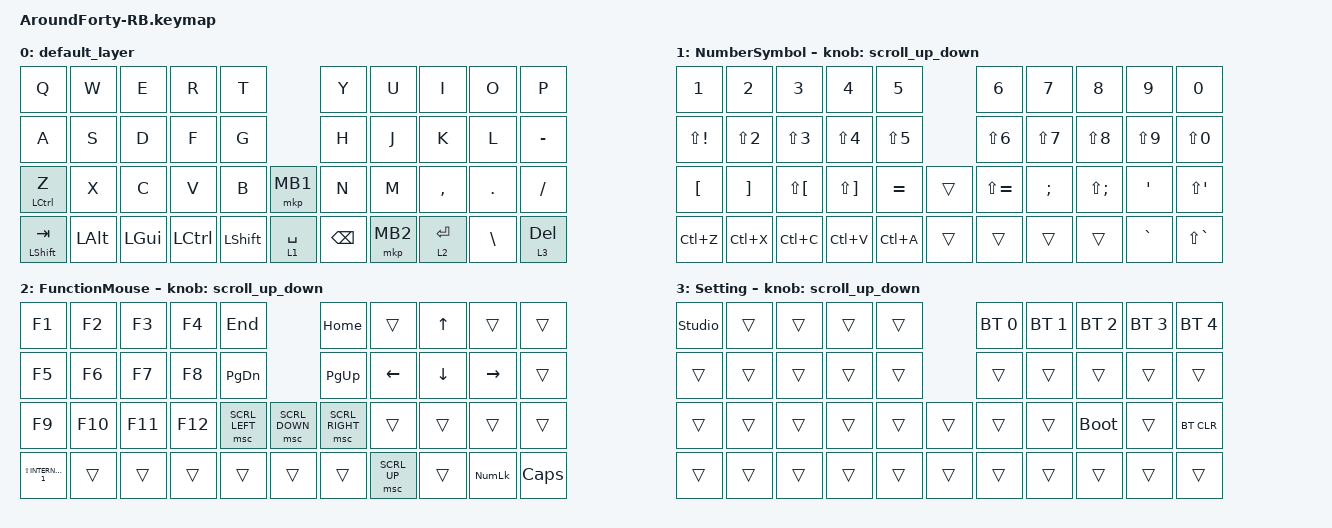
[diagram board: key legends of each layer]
#include <behaviors.dtsi>
#include <dt-bindings/zmk/bt.h>
#include <dt-bindings/zmk/keys.h>
#include <dt-bindings/zmk/pointing.h>

#define ZMK_POINTING_DEFAULT_SCRL_VAL 100
#define MOUSE 6

&mt {
    flavor = "balanced";
    quick-tap-ms = <0>;
};

/ {
    combos {
        compatible = "zmk,combos";

        lang1 {
            bindings = <&kp LANG1>;
            key-positions = <13 12>;
        };

        lang2 {
            bindings = <&kp LANG2>;
            key-positions = <16 17>;
        };

        comboESC {
            bindings = <&kp ESCAPE>;
            key-positions = <31 32>;
        };

        comboTAB {
            bindings = <&kp TAB>;
            key-positions = <0 1>;
        };

        comboNumLock {
            bindings = <&kp KP_NUMLOCK>;
            key-positions = <29 30>;
        };

        comboCAPS {
            bindings = <&kp CAPSLOCK>;
            key-positions = <41 40>;
        };

        lctrl {
            bindings = <&kp LEFT_CONTROL>;
            key-positions = <10 11>;
        };
    };

    macros {
        to_layer_0: to_layer_0 {
            compatible = "zmk,behavior-macro-one-param";
            #binding-cells = <1>;
            bindings = <&to 0 &macro_param_1to1 &kp MACRO_PLACEHOLDER>;
            label = "TO_LAYER_0";
        };
    };

    behaviors {
        lt_to_layer_0: lt_to_layer_0 {
            compatible = "zmk,behavior-hold-tap";
            label = "LAYER_TAP_TO_0";
            bindings = <&mo>, <&to_layer_0>;

            #binding-cells = <2>;
            tapping-term-ms = <200>;
        };

        scroll_up_down: behavior_sensor_rotate_mouse_wheel_up_down {
            compatible = "zmk,behavior-sensor-rotate";
            #sensor-binding-cells = <0>;
            bindings = <&msc SCRL_UP>, <&msc SCRL_DOWN>;

            tap-ms = <20>;
        };
    };

    keymap {
        compatible = "zmk,keymap";

        default_layer {
            bindings = <
&kp Q               &kp W         &kp E         &kp R             &kp T                        &kp Y          &kp U     &kp I        &kp O          &kp P
&kp A               &kp S         &kp D         &kp F             &kp G                        &kp H          &kp J     &kp K        &kp L          &kp MINUS
&mt LEFT_CONTROL Z  &kp X         &kp C         &kp V             &kp B           &mkp MB1     &kp N          &kp M     &kp COMMA    &kp PERIOD     &kp SLASH
&mt LEFT_SHIFT TAB  &kp LEFT_ALT  &kp LEFT_GUI  &kp LEFT_CONTROL  &kp LEFT_SHIFT  &lt 1 SPACE  &kp BACKSPACE  &mkp MB2  &lt 2 ENTER  &kp BACKSLASH  &lt 3 DELETE
            >;
        };

        NumberSymbol {
            bindings = <
&kp N1               &kp N2      &kp N3        &kp N4        &kp N5              &kp N6         &kp N7      &kp N8        &kp N9      &kp N0
&kp LS(EXCLAMATION)  &kp LS(N2)  &kp LS(N3)    &kp LS(N4)    &kp LS(N5)          &kp LS(N6)     &kp LS(N7)  &kp LS(N8)    &kp LS(N9)  &kp LS(N0)
&kp LBKT             &kp RBKT    &kp LS(LBKT)  &kp LS(RBKT)  &kp EQUAL   &trans  &kp LS(EQUAL)  &kp SEMI    &kp LS(SEMI)  &kp APOS    &kp LS(APOS)
&kp LC(Z)            &kp LC(X)   &kp LC(C)     &kp LC(V)     &kp LC(A)   &trans  &trans         &trans      &trans        &kp GRAVE   &kp LS(GRAVE)
            >;

            sensor-bindings = <&scroll_up_down>;
        };

        FunctionMouse {
            bindings = <
&kp F1                   &kp F2   &kp F3   &kp F4   &kp END                         &kp HOME         &trans        &kp UP    &trans          &trans
&kp F5                   &kp F6   &kp F7   &kp F8   &kp PG_DN                       &kp PG_UP        &kp LEFT      &kp DOWN  &kp RIGHT       &trans
&kp F9                   &kp F10  &kp F11  &kp F12  &msc SCRL_LEFT  &msc SCRL_DOWN  &msc SCRL_RIGHT  &trans        &trans    &trans          &trans
&kp LS(INTERNATIONAL_1)  &trans   &trans   &trans   &trans          &trans          &trans           &msc SCRL_UP  &trans    &kp KP_NUMLOCK  &kp CAPSLOCK
            >;

            sensor-bindings = <&scroll_up_down>;
        };

        Setting {
            bindings = <
&studio_unlock  &trans  &trans  &trans  &trans          &bt BT_SEL 0  &bt BT_SEL 1  &bt BT_SEL 2  &bt BT_SEL 3  &bt BT_SEL 4
&trans          &trans  &trans  &trans  &trans          &trans        &trans        &trans        &trans        &trans
&trans          &trans  &trans  &trans  &trans  &trans  &trans        &trans        &bootloader   &trans        &bt BT_CLR
&trans          &trans  &trans  &trans  &trans  &trans  &trans        &trans        &trans        &trans        &trans
            >;

            sensor-bindings = <&scroll_up_down>;
        };
    };
};
